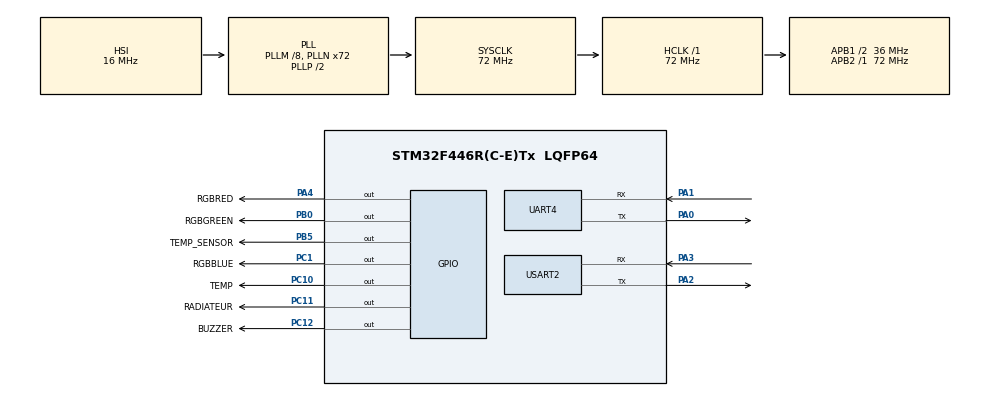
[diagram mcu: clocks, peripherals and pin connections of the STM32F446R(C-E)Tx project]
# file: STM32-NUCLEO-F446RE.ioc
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Mcu.Family=STM32F4
Mcu.Name=STM32F446R(C-E)Tx
Mcu.Package=LQFP64
NVIC.PriorityGroup=NVIC_PRIORITYGROUP_4
NVIC.UART4_IRQn=true\:0\:0\:false\:false\:true\:true\:true\:true
NVIC.USART2_IRQn=true\:0\:0\:false\:false\:true\:true\:true\:true
PA0-WKUP.Mode=Asynchronous
PA0-WKUP.Signal=UART4_TX
PA1.Mode=Asynchronous
PA1.Signal=UART4_RX
PA13.Mode=Trace_Asynchronous_SW
PA13.Signal=SYS_JTMS-SWDIO
PA14.Mode=Trace_Asynchronous_SW
PA14.Signal=SYS_JTCK-SWCLK
PA2.Mode=Asynchronous
PA2.Signal=USART2_TX
PA3.Mode=Asynchronous
PA3.Signal=USART2_RX
PA4.GPIO_Label=RGBRED
PA4.Signal=GPIO_Output
PB0.GPIO_Label=RGBGREEN
PB0.Signal=GPIO_Output
PB3.Mode=Trace_Asynchronous_SW
PB3.Signal=SYS_JTDO-SWO
PB5.GPIO_Label=TEMP_SENSOR
PB5.Signal=GPIO_Output
PC1.GPIO_Label=RGBBLUE
PC1.Signal=GPIO_Output
PC10.GPIO_Label=TEMP
PC10.Signal=GPIO_Output
PC11.GPIO_Label=RADIATEUR
PC11.Signal=GPIO_Output
PC12.GPIO_Label=BUZZER
PC12.Signal=GPIO_Output
ProjectManager.HeapSize=0x200
ProjectManager.StackSize=0x400
ProjectManager.TargetToolchain=STM32CubeIDE
RCC.AHBFreq_Value=72000000
RCC.APB1CLKDivider=RCC_HCLK_DIV2
RCC.APB1Freq_Value=36000000
RCC.APB1TimFreq_Value=72000000
RCC.APB2Freq_Value=72000000
RCC.APB2TimFreq_Value=72000000
RCC.CortexFreq_Value=72000000
RCC.HCLKFreq_Value=72000000
RCC.PLLM=8
RCC.PLLN=72
RCC.SYSCLKFreq_VALUE=72000000
RCC.SYSCLKSource=RCC_SYSCLKSOURCE_PLLCLK
RCC.USBFreq_Value=72000000
RCC.VCOOutputFreq_Value=144000000
TIM1.Prescaler=71
UART4.VirtualMode=Asynchronous
USART2.VirtualMode=VM_ASYNC
VP_TIM1_VS_ClockSourceINT.Mode=Internal
board=custom

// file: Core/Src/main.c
/* USER CODE BEGIN Header */
/**
  ******************************************************************************
  * @file           : main.c
  * @brief          : Main program body
  ******************************************************************************
  * @attention
  *
  * Copyright (c) 2025 STMicroelectronics.
  * All rights reserved.
  *
  * This software is licensed under terms that can be found in the LICENSE file
  * in the root directory of this software component.
  * If no LICENSE file comes with this software, it is provided AS-IS.
  *
  ******************************************************************************
  */
/* USER CODE END Header */
#include "main.h"

/* USER CODE BEGIN Includes */
#include <string.h>
#include <stdio.h>
#include <stdbool.h>
/* USER CODE END Includes */

/* USER CODE BEGIN PD */
#define DHT11_PORT TEMP_GPIO_Port
#define DHT11_PIN TEMP_Pin

/* USER CODE END PD */

TIM_HandleTypeDef htim1;

UART_HandleTypeDef huart4;
UART_HandleTypeDef huart2;

/* USER CODE BEGIN PV */

// Relative Humidity Integral
uint8_t RHI;
// Relative Humidity Decimal
uint8_t RHD;
// Temperature Celsius Integral
uint8_t TCI;
// Temperature Celsius Decimal
uint8_t TCD;
// Checksum
uint8_t SUM;

// Previous and current milliseconds for timing
uint32_t pMillis, cMillis;

// Temperature in Celsius
float tCelsius = 0;
// Temperature in Fahrenheit
float tFahrenheit = 0;
// Relative Humidity
float RH = 0;

// Temperature Fahrenheit Integral
uint8_t TFI = 0;
// Temperature Fahrenheit Decimal
uint8_t TFD = 0;

// String buffer for copying
char strCopy[15];

// RGB LED color values
int rgbr = 255;
int rgbg = 255;
int rgbb = 255;

// States for RGB LED, general LED, buzzer, and button
bool rgb = false, rgb_state = false;
bool led = false, led_state = false;
bool buz = false, buz_state = false;
bool but = false;

// Previous state of temperature threshold
bool temp_old_state = false;

// Temperature threshold value
int temp_threshold = 30;
// Buzzer intensity (0-100)
int buz_intensity = 50;

// Number of buzzer cycles
int buzzer_cycles = 0;

// UART buffers
char uart_buf[200], uart_buf2[200];
// UART receive buffer
uint8_t rx_buffer[1];

/* USER CODE END PV */

void SystemClock_Config(void);
static void MX_GPIO_Init(void);
static void MX_UART4_Init(void);
static void MX_TIM1_Init(void);
static void MX_USART2_UART_Init(void);
/* USER CODE BEGIN PFP */

void UART_SendString(char *str);
void Update_RGB_LED(int red, int green, int blue, bool state);
void Update_Buzzer(bool state, int intensity);
void Update_Radiator(bool state);
void Automate_Actions(void);

/* USER CODE END PFP */

/* USER CODE BEGIN 0 */
void microDelay (uint16_t delay)
{
  __HAL_TIM_SET_COUNTER(&htim1, 0);
  while (__HAL_TIM_GET_COUNTER(&htim1) < delay);
	  //printf("%d ticks \n",__HAL_TIM_GET_COUNTER(&htim1));
}

uint8_t DHT11_Start (void)
{
  uint8_t Response = 0;
  GPIO_InitTypeDef GPIO_InitStructPrivate = {0};
  GPIO_InitStructPrivate.Pin = DHT11_PIN;
  GPIO_InitStructPrivate.Mode = GPIO_MODE_OUTPUT_PP;
  GPIO_InitStructPrivate.Speed = GPIO_SPEED_FREQ_LOW;
  GPIO_InitStructPrivate.Pull = GPIO_NOPULL;
  HAL_GPIO_Init(DHT11_PORT, &GPIO_InitStructPrivate); // set the pin as output
  HAL_GPIO_WritePin (DHT11_PORT, DHT11_PIN, 0);   // pull the pin low
  HAL_Delay(20);   // wait for 20ms
  HAL_GPIO_WritePin (DHT11_PORT, DHT11_PIN, 1);   // pull the pin high
  microDelay (30);   // wait for 30us
  GPIO_InitStructPrivate.Mode = GPIO_MODE_INPUT;
  GPIO_InitStructPrivate.Pull = GPIO_PULLUP;
  HAL_GPIO_Init(DHT11_PORT, &GPIO_InitStructPrivate); // set the pin as input
  microDelay (40);
  if (!(HAL_GPIO_ReadPin (DHT11_PORT, DHT11_PIN)))
  {
    microDelay (80);
    if ((HAL_GPIO_ReadPin (DHT11_PORT, DHT11_PIN))) Response = 1;
  }
  pMillis = HAL_GetTick();
  cMillis = HAL_GetTick();
  while ((HAL_GPIO_ReadPin (DHT11_PORT, DHT11_PIN)) && pMillis + 2 > cMillis)
  {
    cMillis = HAL_GetTick();
  }
  return Response;
}

uint8_t DHT11_Read (void)
{
  uint8_t a,b;
  for (a=0;a<8;a++)
  {
    pMillis = HAL_GetTick();
    cMillis = HAL_GetTick();
    while (!(HAL_GPIO_ReadPin (DHT11_PORT, DHT11_PIN)) && pMillis + 2 > cMillis)
    {  // wait for the pin to go high
      cMillis = HAL_GetTick();
    }
    microDelay (40);   // wait for 40 us
    if (!(HAL_GPIO_ReadPin (DHT11_PORT, DHT11_PIN)))   // if the pin is low
      b&= ~(1<<(7-a));
    else
      b|= (1<<(7-a));
    pMillis = HAL_GetTick();
    cMillis = HAL_GetTick();
    while ((HAL_GPIO_ReadPin (DHT11_PORT, DHT11_PIN)) && pMillis + 2 > cMillis)
    {  // wait for the pin to go low
      cMillis = HAL_GetTick();
    }
  }
  return b;
}

/* USER CODE END 0 */

int main(void)
{

  /* MCU Configuration--------------------------------------------------------*/

  /* Reset of all peripherals, Initializes the Flash interface and the Systick. */
  HAL_Init();

  /* Configure the system clock */
  SystemClock_Config();

  /* Initialize all configured peripherals */
  MX_GPIO_Init();
  MX_UART4_Init();
  MX_TIM1_Init();
  MX_USART2_UART_Init();
  /* USER CODE BEGIN 2 */
  HAL_TIM_Base_Start(&htim1);
  //HAL_UART_Transmit(&huart2, "Start\n", 28, 1000u);

  UART_SendString("[DEBUG] STM32 USART6 Initialized!\n");
  //HAL_UART_Receive_IT(&huart4, (uint8_t *) rx_buffer, sizeof(rx_buffer));
  /* USER CODE END 2 */

  /* Infinite loop */
  /* USER CODE BEGIN WHILE */
  while (1)
  {
      if (DHT11_Start()) {
          RHI = DHT11_Read(); // Relative humidity integral
          RHD = DHT11_Read(); // Relative humidity decimal
          TCI = DHT11_Read(); // Celsius integral
          TCD = DHT11_Read(); // Celsius decimal
          SUM = DHT11_Read(); // Check sum
          if (RHI + RHD + TCI + TCD == SUM) {
              // Can use RHI and TCI for any purposes if whole number only needed
              tCelsius = (float) TCI + (float) (TCD / 10.0);
              tFahrenheit = tCelsius * 9 / 5 + 32;
              RH = (float) RHI + (float) (RHD / 10.0);
              // Can use tCelsius, tFahrenheit and RH for any purposes
              TFI = tFahrenheit;  // Fahrenheit integral
              TFD = tFahrenheit * 10 - TFI * 10; // Fahrenheit decimal
              printf("%d.%d C   %d.%d F", TCI, TCD, TFI, TFD);
              char *buf = (char *) malloc(sizeof(char) * 100);
              sprintf(buf, "%d.%d C %d.%d %%\n", TCI, TCD, RHI, RHD);
              //HAL_UART_Transmit(&huart2, buf, strlen(buf), 1000u);
          }
      }

      Automate_Actions();

        sprintf(
                uart_buf,
                "{\"Temperature\":%d.%d,\"Humidity\":%d.%d,\"RGB\":{\"red\":%d,\"green\":%d,\"blue\":%d,\"state\":%s},\"Led\":%s,\"Buzzer\":%s,\"Button\":%s,\"TemperatureThreshold\":%d}\n",
                TCI, TCD, // Temperature
                RHI, RHD, // Humidity
                rgbr, rgbg, rgbb, // RGB color
                rgb_state ? "true" : "false", // RGB state
                led_state ? "true" : "false", // Led state
                buz_state ? "true" : "false", // Buzzer state
                but ? "true" : "false", // Button state
                temp_threshold // Temperature threshold
        );
        UART_SendString(uart_buf);

        HAL_Delay(2000);

    /* USER CODE END WHILE */

  }
}

void SystemClock_Config(void)
{
  RCC_OscInitTypeDef RCC_OscInitStruct = {0};
  RCC_ClkInitTypeDef RCC_ClkInitStruct = {0};

  /** Configure the main internal regulator output voltage
  */
  __HAL_RCC_PWR_CLK_ENABLE();
  __HAL_PWR_VOLTAGESCALING_CONFIG(PWR_REGULATOR_VOLTAGE_SCALE3);

  /** Initializes the RCC Oscillators according to the specified parameters
  * in the RCC_OscInitTypeDef structure.
  */
  RCC_OscInitStruct.OscillatorType = RCC_OSCILLATORTYPE_HSI;
  RCC_OscInitStruct.HSIState = RCC_HSI_ON;
  RCC_OscInitStruct.HSICalibrationValue = RCC_HSICALIBRATION_DEFAULT;
  RCC_OscInitStruct.PLL.PLLState = RCC_PLL_ON;
  RCC_OscInitStruct.PLL.PLLSource = RCC_PLLSOURCE_HSI;
  RCC_OscInitStruct.PLL.PLLM = 8;
  RCC_OscInitStruct.PLL.PLLN = 72;
  RCC_OscInitStruct.PLL.PLLP = RCC_PLLP_DIV2;
  RCC_OscInitStruct.PLL.PLLQ = 2;
  RCC_OscInitStruct.PLL.PLLR = 2;
  if (HAL_RCC_OscConfig(&RCC_OscInitStruct) != HAL_OK)
  {
    Error_Handler();
  }

  /** Initializes the CPU, AHB and APB buses clocks
  */
  RCC_ClkInitStruct.ClockType = RCC_CLOCKTYPE_HCLK|RCC_CLOCKTYPE_SYSCLK
                              |RCC_CLOCKTYPE_PCLK1|RCC_CLOCKTYPE_PCLK2;
  RCC_ClkInitStruct.SYSCLKSource = RCC_SYSCLKSOURCE_PLLCLK;
  RCC_ClkInitStruct.AHBCLKDivider = RCC_SYSCLK_DIV1;
  RCC_ClkInitStruct.APB1CLKDivider = RCC_HCLK_DIV2;
  RCC_ClkInitStruct.APB2CLKDivider = RCC_HCLK_DIV1;

  if (HAL_RCC_ClockConfig(&RCC_ClkInitStruct, FLASH_LATENCY_2) != HAL_OK)
  {
    Error_Handler();
  }
}

static void MX_TIM1_Init(void)
{

  TIM_ClockConfigTypeDef sClockSourceConfig = {0};
  TIM_MasterConfigTypeDef sMasterConfig = {0};

  htim1.Instance = TIM1;
  htim1.Init.Prescaler = 71;
  htim1.Init.CounterMode = TIM_COUNTERMODE_UP;
  htim1.Init.Period = 65535;
  htim1.Init.ClockDivision = TIM_CLOCKDIVISION_DIV1;
  htim1.Init.RepetitionCounter = 0;
  htim1.Init.AutoReloadPreload = TIM_AUTORELOAD_PRELOAD_DISABLE;
  if (HAL_TIM_Base_Init(&htim1) != HAL_OK)
  {
    Error_Handler();
  }
  sClockSourceConfig.ClockSource = TIM_CLOCKSOURCE_INTERNAL;
  if (HAL_TIM_ConfigClockSource(&htim1, &sClockSourceConfig) != HAL_OK)
  {
    Error_Handler();
  }
  sMasterConfig.MasterOutputTrigger = TIM_TRGO_RESET;
  sMasterConfig.MasterSlaveMode = TIM_MASTERSLAVEMODE_DISABLE;
  if (HAL_TIMEx_MasterConfigSynchronization(&htim1, &sMasterConfig) != HAL_OK)
  {
    Error_Handler();
  }

}

static void MX_UART4_Init(void)
{

  huart4.Instance = UART4;
  huart4.Init.BaudRate = 115200;
  huart4.Init.WordLength = UART_WORDLENGTH_8B;
  huart4.Init.StopBits = UART_STOPBITS_1;
  huart4.Init.Parity = UART_PARITY_NONE;
  huart4.Init.Mode = UART_MODE_TX_RX;
  huart4.Init.HwFlowCtl = UART_HWCONTROL_NONE;
  huart4.Init.OverSampling = UART_OVERSAMPLING_16;
  if (HAL_UART_Init(&huart4) != HAL_OK)
  {
    Error_Handler();
  }

}

static void MX_USART2_UART_Init(void)
{

  huart2.Instance = USART2;
  huart2.Init.BaudRate = 115200;
  huart2.Init.WordLength = UART_WORDLENGTH_8B;
  huart2.Init.StopBits = UART_STOPBITS_1;
  huart2.Init.Parity = UART_PARITY_NONE;
  huart2.Init.Mode = UART_MODE_TX_RX;
  huart2.Init.HwFlowCtl = UART_HWCONTROL_NONE;
  huart2.Init.OverSampling = UART_OVERSAMPLING_16;
  if (HAL_UART_Init(&huart2) != HAL_OK)
  {
    Error_Handler();
  }

}

static void MX_GPIO_Init(void)
{
  GPIO_InitTypeDef GPIO_InitStruct = {0};

  /* GPIO Ports Clock Enable */
  __HAL_RCC_GPIOC_CLK_ENABLE();
  __HAL_RCC_GPIOA_CLK_ENABLE();
  __HAL_RCC_GPIOB_CLK_ENABLE();

  /*Configure GPIO pin Output Level */
  HAL_GPIO_WritePin(GPIOC, RGBBLUE_Pin|TEMP_Pin|RADIATEUR_Pin|BUZZER_Pin, GPIO_PIN_RESET);

  /*Configure GPIO pin Output Level */
  HAL_GPIO_WritePin(RGBRED_GPIO_Port, RGBRED_Pin, GPIO_PIN_RESET);

  /*Configure GPIO pin Output Level */
  HAL_GPIO_WritePin(GPIOB, RGBGREEN_Pin|TEMP_SENSOR_Pin, GPIO_PIN_RESET);

  /*Configure GPIO pins : RGBBLUE_Pin TEMP_Pin RADIATEUR_Pin BUZZER_Pin */
  GPIO_InitStruct.Pin = RGBBLUE_Pin|TEMP_Pin|RADIATEUR_Pin|BUZZER_Pin;
  GPIO_InitStruct.Mode = GPIO_MODE_OUTPUT_PP;
  GPIO_InitStruct.Pull = GPIO_NOPULL;
  GPIO_InitStruct.Speed = GPIO_SPEED_FREQ_LOW;
  HAL_GPIO_Init(GPIOC, &GPIO_InitStruct);

  /*Configure GPIO pin : RGBRED_Pin */
  GPIO_InitStruct.Pin = RGBRED_Pin;
  GPIO_InitStruct.Mode = GPIO_MODE_OUTPUT_PP;
  GPIO_InitStruct.Pull = GPIO_NOPULL;
  GPIO_InitStruct.Speed = GPIO_SPEED_FREQ_LOW;
  HAL_GPIO_Init(RGBRED_GPIO_Port, &GPIO_InitStruct);

  /*Configure GPIO pins : RGBGREEN_Pin TEMP_SENSOR_Pin */
  GPIO_InitStruct.Pin = RGBGREEN_Pin|TEMP_SENSOR_Pin;
  GPIO_InitStruct.Mode = GPIO_MODE_OUTPUT_PP;
  GPIO_InitStruct.Pull = GPIO_NOPULL;
  GPIO_InitStruct.Speed = GPIO_SPEED_FREQ_LOW;
  HAL_GPIO_Init(GPIOB, &GPIO_InitStruct);

}

/* USER CODE BEGIN 4 */

/**
 * @brief Transmits a string via UART.
 * @param str The string to be transmitted.
 */
void UART_SendString(char *str) { HAL_UART_Transmit(&huart4, (uint8_t *) str, strlen(str), HAL_MAX_DELAY); }

/**
 * @brief Updates the RGB LED state and color.
 * @param red The red component (0-255).
 * @param green The green component (0-255).
 * @param blue The blue component (0-255).
 * @param state The state of the RGB LED (true for on, false for off).
 */
void Update_RGB_LED(int red, int green, int blue, bool state) {
    if (state) {
        HAL_GPIO_WritePin(GPIOA, GPIO_PIN_4, red > 0 ? GPIO_PIN_SET : GPIO_PIN_RESET);
        HAL_GPIO_WritePin(GPIOB, GPIO_PIN_0, green > 0 ? GPIO_PIN_SET : GPIO_PIN_RESET);
        HAL_GPIO_WritePin(GPIOC, GPIO_PIN_1, blue > 0 ? GPIO_PIN_SET : GPIO_PIN_RESET);
    } else {
        HAL_GPIO_WritePin(GPIOA, GPIO_PIN_4, GPIO_PIN_RESET);
        HAL_GPIO_WritePin(GPIOB, GPIO_PIN_0, GPIO_PIN_RESET);
        HAL_GPIO_WritePin(GPIOC, GPIO_PIN_1, GPIO_PIN_RESET);
    }
}

/**
 * @brief Updates the buzzer state and intensity.
 * @param state The state of the buzzer (true for on, false for off).
 * @param intensity The intensity of the buzzer (0-100).
 */
void Update_Buzzer(bool state, int intensity) {
    if (state) {
        // Convert intensity to a PWM value (0-100% -> 0-255)
        int pwm_value = (intensity * 255) / 100;
        // Configure the timer to generate a PWM signal with the calculated value
        __HAL_TIM_SET_COMPARE(&htim1, TIM_CHANNEL_1, pwm_value);
        HAL_GPIO_WritePin(GPIOC, BUZZER_Pin, GPIO_PIN_SET);
    } else {
        HAL_GPIO_WritePin(GPIOC, BUZZER_Pin, GPIO_PIN_RESET);
    }
}

/**
 * @brief Updates the radiator state.
 * @param state The state of the radiator (true for on, false for off).
 */
void Update_Radiator(bool state) {
    if (state) {
        HAL_GPIO_WritePin(GPIOC, RADIATEUR_Pin, GPIO_PIN_SET);
    } else {
        HAL_GPIO_WritePin(GPIOC, RADIATEUR_Pin, GPIO_PIN_RESET);
    }
}

/**
 * @brief UART receive complete callback.
 * @param huart Pointer to the UART handle.
 */
void HAL_UART_RxCpltCallback(UART_HandleTypeDef *huart) {
    static uint16_t uart_buf2_index = 0;

    if (strcmp(rx_buffer, "\n")) {
        uart_buf2[uart_buf2_index++] = rx_buffer[0];
    } else {
        uart_buf2[uart_buf2_index] = '\0'; // Null-terminate the string
        // UART_SendString(uart_buf2);
        if (strncmp((char *) rx_buffer, "[LED#SWITCH:True]", 16) == 0) {
            led = true;
            UART_SendString("[DEBUG] LED activée\n");
        } else if (strncmp((char *) rx_buffer, "[LED#SWITCH:False]", 17) == 0) {
            led = false;
            UART_SendString("[DEBUG] LED désactivée\n");
        } else if (strncmp((char *) rx_buffer, "[BUZZER#SWITCH:True]", 19) == 0) {
            buz = true;
            UART_SendString("[DEBUG] Buzzer activé\n");
        } else if (strncmp((char *) rx_buffer, "[BUZZER#SWITCH:False]", 20) == 0) {
            buz = false;
            UART_SendString("[DEBUG] Buzzer désactivé\n");
        } else if (strncmp((char *) rx_buffer, "[RGB#SWITCH:True]", 16) == 0) {
            rgb = true;
            UART_SendString("[DEBUG] RGB activé\n");
        } else if (strncmp((char *) rx_buffer, "[RGB#SWITCH:False]", 17) == 0) {
            rgb = false;
            UART_SendString("[DEBUG] RGB désactivé\n");
        } else if (strncmp((char *) rx_buffer, "[RGB#COLOR:", 11) == 0) {
            sscanf((char *) rx_buffer, "[RGB#COLOR:%d,%d,%d]", &rgbr, &rgbg, &rgbb);
            UART_SendString("[DEBUG] Couleur RGB mise à jour\n");
        } else if (strncmp((char *) rx_buffer, "[TEMP#THRESHOLD:", 16) == 0) {
            sscanf((char *) rx_buffer, "[TEMP#THRESHOLD:%d]", &temp_threshold);
            UART_SendString("[DEBUG] Seuil de température mis à jour\n");
        } else {
            UART_SendString("[DEBUG] Commande inconnue\n");
        }
        uart_buf2_index = 0; // Reset the index for the next message
    }

    // Restart reception for the next character
    HAL_UART_Receive_IT(&huart4, rx_buffer, 1);
}

/**
 * @brief Automates actions based on temperature and other states.
 */
void Automate_Actions(void) {
    // Turn on the radiator (LED) if the temperature is below the target temperature
    if (temp_old_state != (tCelsius < temp_threshold)) {
        temp_old_state = (tCelsius < temp_threshold);
        buzzer_cycles = 0;
    }
    if (tCelsius < temp_threshold) {
        rgb_state = true;
        led_state = true;
        if (buzzer_cycles < 4) {
            buz_state = true;
            buzzer_cycles++;
        } else {
            buz_state = false;
        }
    } else {
        rgb_state = false;
        led_state = false;
        if (buzzer_cycles < 4) {
            buz_state = true;
            buzzer_cycles++;
        } else {
            buz_state = false;
        }
    }

    if (rgb) {
        rgb_state = true;
        Update_RGB_LED(rgbr, rgbg, rgbb, true);
    } else {
        Update_RGB_LED(rgbr, rgbg, rgbb, rgb_state);
    }

    if (led) {
        led_state = true;
        Update_Radiator(true);
    } else {
        Update_Radiator(led_state);
    }

    if (buz) {
        buz_state = true;
        Update_Buzzer(true, buz_intensity);
    } else {
        Update_Buzzer(buz_state, buz_intensity);
    }
}
/* USER CODE END 4 */

void Error_Handler(void)
{
  __disable_irq();
  while (1)
  {
  }
}
